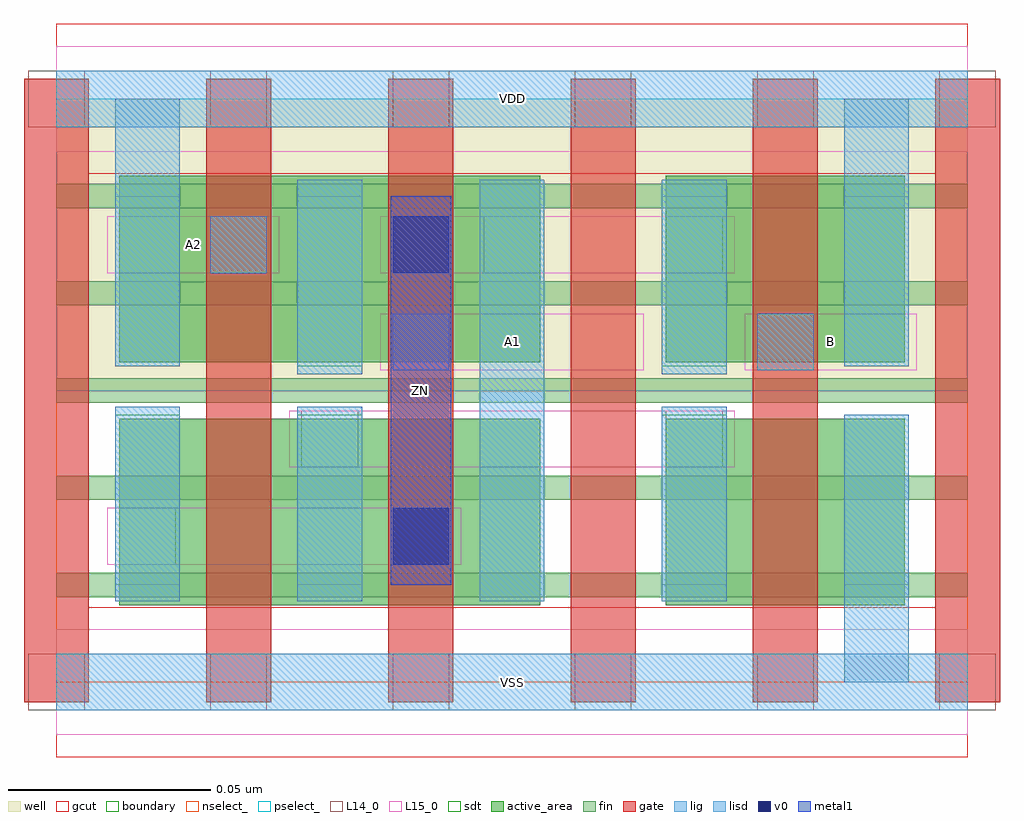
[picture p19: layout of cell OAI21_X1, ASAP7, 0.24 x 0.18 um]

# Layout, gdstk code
import gdstk
lib = gdstk.Library(unit=1e-6, precision=2.5e-10)
def R(c, l, rs):  # rectangles x0, y0, x1, y1
    for r in rs: c.add(gdstk.rectangle(r[:2], r[2:], *l))
def A(c, l, x, y, w, h, nx, ny, dx, dy):  # array of equal rectangles
    R(c, l, [(x+i*dx, y+j*dy, x+i*dx+w, y+j*dy+h) for i in range(nx) for j in range(ny)])
well = (1, 0)
fin = (2, 0)
gate = (7, 0)
gcut = (10, 0)
active_area = (11, 0)
nselect_ = (12, 0)
pselect_ = (13, 0)
L14_0 = (14, 0)
L15_0 = (15, 0)
lig = (16, 0)
lisd = (17, 0)
v0 = (18, 0)
metal1 = (19, 0)
sdt = (88, 0)
boundary = (100, 0)

oai21_x1 = lib.new_cell('OAI21_X1')
R(oai21_x1, well, [(0,0.072,0.225,0.144)])
A(oai21_x1, fin, 0, 0.021, 0.225, 0.006, 1, 5, 0, 0.024)
A(oai21_x1, gate, -0.008, -0.005, 0.016, 0.154, 6, 1, 0.045, 0)
R(oai21_x1, gcut, [(0,-0.0185,0.225,0.0185), (-0.008,-0.005,0.008,0.149), (0.217,-0.005,0.233,0.149), (0,0.1255,0.225,0.1625)])
R(oai21_x1, active_area, [(0.0155,0.019,0.0745,0.065), (0.0605,0.019,0.1195,0.065), (0.1505,0.019,0.2095,0.065), (0.0155,0.079,0.0745,0.125), (0.0605,0.079,0.1195,0.125), (0.1505,0.079,0.2095,0.125)])
R(oai21_x1, nselect_, [(0,0,0.225,0.072)])
R(oai21_x1, pselect_, [(0,0.072,0.225,0.144)])
A(oai21_x1, L14_0, -0.007, -0.007, 0.014, 0.014, 6, 2, 0.045, 0.144)
R(oai21_x1, L14_0, [(0.0155,0.029,0.0295,0.043), (0.0605,0.053,0.0745,0.067), (0.1505,0.053,0.1645,0.067), (0.083,0.077,0.097,0.091), (0.173,0.077,0.187,0.091), (0.038,0.101,0.052,0.115), (0.1055,0.101,0.1195,0.115), (0.1505,0.101,0.1645,0.115)])
R(oai21_x1, L15_0, [(0,-0.013,0.225,0.013), (0.0125,0.029,0.1,0.043), (0.0575,0.053,0.1675,0.067), (0.08,0.077,0.145,0.091), (0.17,0.077,0.2125,0.091), (0.0125,0.101,0.055,0.115), (0.08,0.101,0.1675,0.115), (0,0.131,0.225,0.157)])
R(oai21_x1, lig, [(0,-0.007,0.225,0.007), (0.083,0.077,0.097,0.091), (0.173,0.077,0.187,0.091), (0.038,0.101,0.052,0.115), (0,0.137,0.225,0.151)])
R(oai21_x1, lisd, [(0.1945,0,0.2105,0.066), (0.0145,0.02,0.0305,0.068), (0.0595,0.02,0.0755,0.068), (0.0595,0.02,0.0755,0.068), (0.1045,0.02,0.1205,0.124), (0.1495,0.02,0.1655,0.068), (0.0595,0.076,0.0755,0.124), (0.0595,0.076,0.0755,0.124), (0.1495,0.076,0.1655,0.124), (0.0145,0.078,0.0305,0.144), (0.1945,0.078,0.2105,0.144)])
R(oai21_x1, v0, [(0.083,0.029,0.097,0.043), (0.083,0.101,0.097,0.115)])
R(oai21_x1, metal1, [(0.0825,0.024,0.0975,0.12)])
R(oai21_x1, sdt, [(0.1045,0.02,0.1205,0.124), (0.0145,0.024,0.0305,0.066), (0.0595,0.024,0.0755,0.066), (0.0595,0.024,0.0755,0.066), (0.1495,0.024,0.1655,0.066), (0.1945,0.024,0.2105,0.066), (0.0145,0.078,0.0305,0.12), (0.0595,0.078,0.0755,0.12), (0.0595,0.078,0.0755,0.12), (0.1495,0.078,0.1655,0.12), (0.1945,0.078,0.2105,0.12)])
R(oai21_x1, boundary, [(0,0,0.225,0.144)])
oai21_x1.add(gdstk.Label('VDD', (0.1125,0.144), layer=1, texttype=251))
oai21_x1.add(gdstk.Label('VSS', (0.1125,0), layer=3, texttype=251))
oai21_x1.add(gdstk.Label('A2', (0.0338,0.108), layer=15, texttype=251))
oai21_x1.add(gdstk.Label('A1', (0.1125,0.084), layer=15, texttype=251))
oai21_x1.add(gdstk.Label('B', (0.1913,0.084), layer=15, texttype=251))
oai21_x1.add(gdstk.Label('VSS', (0.1125,0), layer=15, texttype=251))
oai21_x1.add(gdstk.Label('VDD', (0.1125,0.144), layer=15, texttype=251))
oai21_x1.add(gdstk.Label('ZN', (0.09,0.072), layer=19, texttype=251))

lib.write_gds('OAI21_X1.gds')
